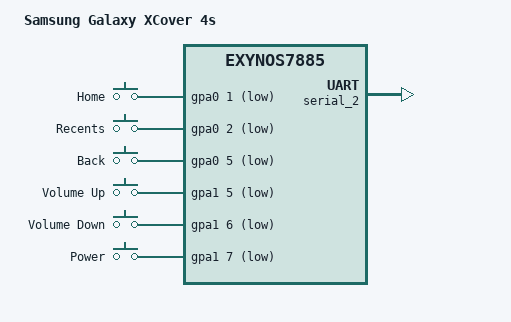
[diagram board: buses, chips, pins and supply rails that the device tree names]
// SPDX-License-Identifier: GPL-2.0
/*
 * Samsung Galaxy XCover 4s (xcover4s/SM-G398FN) device tree source
 *
 * Copyright (c) 2021 Samsung Electronics Co., Ltd.
 * Copyright (c) 2024 Dávid Virág
 */

/dts-v1/;
#include "exynos7885.dtsi"
#include <dt-bindings/gpio/gpio.h>
#include <dt-bindings/input/input.h>
#include <dt-bindings/interrupt-controller/irq.h>

/ {
	model = "Samsung Galaxy XCover 4s";
	compatible = "samsung,xcover4s", "samsung,exynos7885";
	chassis-type = "handset";

	aliases {
		mmc0 = &mmc_0;
		serial0 = &serial_0;
		serial1 = &serial_1;
		serial2 = &serial_2;
	};

	chosen {
		#address-cells = <2>;
		#size-cells = <1>;
		stdout-path = &serial_2;

		framebuffer@ec000000 {
			compatible = "simple-framebuffer";
			reg = <0x0 0xec000000 0x00384000>;
			width = <720>;
			height = <1280>;
			stride = <2880>;
			format = "a8r8g8b8";
		};
	};

	reserved-memory {
		#address-cells = <2>;
		#size-cells = <1>;
		ranges;

		framebuffer_region@ec000000 {
			reg = <0x0 0xec000000 0x00384000>;
			no-map;
		};
	};
	memory@80000000 {
		device_type = "memory";
		reg = <0x0 0x80000000 0x3d500000>,
		      <0x0 0xc0000000 0x40000000>,
		      <0x8 0x80000000 0x40000000>;
	};

	gpio-keys {
		compatible = "gpio-keys";
		pinctrl-names = "default";
		pinctrl-0 = <&key_home &key_recent &key_back &key_xcover
		             &key_volup &key_voldown &key_power>;

		home-key {
			label = "Home";
			linux,code = <KEY_HOME>;
			gpios = <&gpa0 1 GPIO_ACTIVE_LOW>;
		};

		recents-key {
			label = "Recents";
			linux,code = <KEY_APPSELECT>;
			gpios = <&gpa0 2 GPIO_ACTIVE_LOW>;
		};

		back-key {
			label = "Back";
			linux,code = <KEY_BACK>;
			gpios = <&gpa0 5 GPIO_ACTIVE_LOW>;
		};

		/* TODO: What key is this? */
		/*
		xcover-key {
			label = "XCover";
			linux,code = <???>;
			gpios = <&gpa1 3 GPIO_ACTIVE_LOW>;
		};*/

		volup-key {
			label = "Volume Up";
			linux,code = <KEY_VOLUMEUP>;
			gpios = <&gpa1 5 GPIO_ACTIVE_LOW>;
		};

		voldown-key {
			label = "Volume Down";
			linux,code = <KEY_VOLUMEDOWN>;
			gpios = <&gpa1 6 GPIO_ACTIVE_LOW>;
		};

		power-key {
			label = "Power";
			linux,code = <KEY_POWER>;
			gpios = <&gpa1 7 GPIO_ACTIVE_LOW>;
			wakeup-source;
		};
	};
};

&oscclk {
	clock-frequency = <26000000>;
};

&pinctrl_alive {
	key_home: key-home-pins {
		samsung,pins = "gpa0-1";
		samsung,pin-function = <EXYNOS_PIN_FUNC_F>;
		samsung,pin-pud = <EXYNOS_PIN_PULL_NONE>;
		samsung,pin-drv = <EXYNOS5420_PIN_DRV_LV1>;
	};

	key_recent: key-home-pins {
		samsung,pins = "gpa0-2";
		samsung,pin-function = <EXYNOS_PIN_FUNC_F>;
		samsung,pin-pud = <EXYNOS_PIN_PULL_NONE>;
		samsung,pin-drv = <EXYNOS5420_PIN_DRV_LV1>;
	};

	key_back: key-home-pins {
		samsung,pins = "gpa0-5";
		samsung,pin-function = <EXYNOS_PIN_FUNC_F>;
		samsung,pin-pud = <EXYNOS_PIN_PULL_NONE>;
		samsung,pin-drv = <EXYNOS5420_PIN_DRV_LV1>;
	};

	key_xcover: key-home-pins {
		samsung,pins = "gpa1-3";
		samsung,pin-function = <EXYNOS_PIN_FUNC_F>;
		samsung,pin-pud = <EXYNOS_PIN_PULL_NONE>;
		samsung,pin-drv = <EXYNOS5420_PIN_DRV_LV1>;
	};

	key_volup: key-volup-pins {
		samsung,pins = "gpa1-5";
		samsung,pin-function = <EXYNOS_PIN_FUNC_F>;
		samsung,pin-pud = <EXYNOS_PIN_PULL_NONE>;
		samsung,pin-drv = <EXYNOS5420_PIN_DRV_LV1>;
	};

	key_voldown: key-voldown-pins {
		samsung,pins = "gpa1-6";
		samsung,pin-function = <EXYNOS_PIN_FUNC_F>;
		samsung,pin-pud = <EXYNOS_PIN_PULL_NONE>;
		samsung,pin-drv = <EXYNOS5420_PIN_DRV_LV1>;
	};

	key_power: key-power-pins {
		samsung,pins = "gpa1-7";
		samsung,pin-function = <EXYNOS_PIN_FUNC_F>;
		samsung,pin-pud = <EXYNOS_PIN_PULL_NONE>;
		samsung,pin-drv = <EXYNOS5420_PIN_DRV_LV1>;
	};
};

&serial_2 {
	status = "okay";
};
